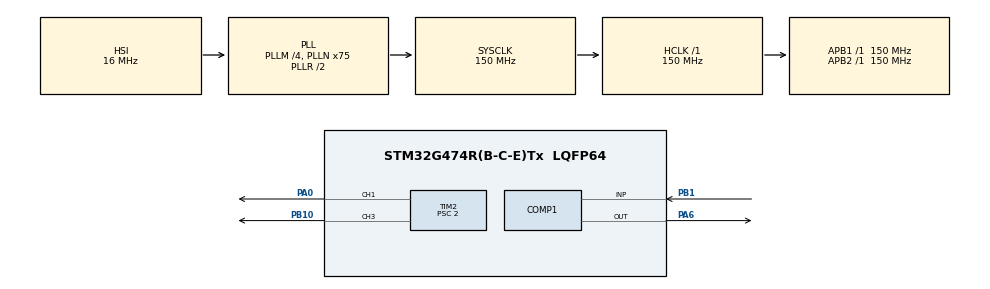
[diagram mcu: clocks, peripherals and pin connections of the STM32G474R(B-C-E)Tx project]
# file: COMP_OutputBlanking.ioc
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COMP1.BlankingSrce=COMP_BLANKINGSRC_TIM2_OC3_COMP1
COMP1.Hysteresis=COMP_HYSTERESIS_NONE
COMP1.OutputPol=COMP_OUTPUTPOL_NONINVERTED
COMP1.TriggerMode=COMP_TRIGGERMODE_NONE
Mcu.Family=STM32G4
Mcu.Name=STM32G474R(B-C-E)Tx
Mcu.Package=LQFP64
NVIC.PriorityGroup=NVIC_PRIORITYGROUP_4
PA0.Signal=S_TIM2_CH1
PA6.Mode=ExternalOutput
PA6.Signal=COMP1_OUT
PB1.Mode=INP
PB1.Signal=COMP1_INP
PB10.Signal=S_TIM2_CH3
ProjectManager.HeapSize=0x200
ProjectManager.StackSize=0x400
ProjectManager.TargetToolchain=EWARM V8.32
RCC.ADC12Freq_Value=150000000
RCC.ADC345Freq_Value=150000000
RCC.AHBFreq_Value=150000000
RCC.APB1Freq_Value=150000000
RCC.APB1TimFreq_Value=150000000
RCC.APB2Freq_Value=150000000
RCC.APB2TimFreq_Value=150000000
RCC.CortexFreq_Value=150000000
RCC.EXTERNAL_CLOCK_VALUE=12288000
RCC.HCLKFreq_Value=150000000
RCC.HSE_VALUE=24000000
RCC.HSI48_VALUE=16000000
RCC.HSI_VALUE=16000000
RCC.LSE_VALUE=32768
RCC.PLLM=RCC_PLLM_DIV4
RCC.PLLN=75
RCC.SYSCLKFreq_VALUE=150000000
RCC.SYSCLKSource=RCC_SYSCLKSOURCE_PLLCLK
RCC.USBFreq_Value=150000000
RCC.VCOOutputFreq_Value=300000000
SH.S_TIM2_CH1.0=TIM2_CH1,PWM Generation1 CH1
SH.S_TIM2_CH3.0=TIM2_CH3,PWM Generation3 CH3
TIM2.Channel-PWM\ Generation1\ CH1=TIM_CHANNEL_1
TIM2.Channel-PWM\ Generation3\ CH3=TIM_CHANNEL_3
TIM2.Period=49999
TIM2.Prescaler=2
TIM2.PulseNoDither_1=20000
TIM2.PulseNoDither_3=1000
VP_COMP1_VS_VREFINT.Mode=VREFINT
VP_SYS_VS_DBSignals.Mode=DisableDeadBatterySignals
VP_TIM2_VS_ClockSourceINT.Mode=Internal
board=custom

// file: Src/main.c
/* USER CODE BEGIN Header */
/**
  ******************************************************************************
  * @file    Examples/COMP/COMP_OutputBlanking/Src/main.c
  * @author  MCD Application Team
  * @brief   This example provides a short description of how to use the COMP
  *          peripheral in mode output blanking feature.
  ******************************************************************************
  * @attention
  *
  * Copyright (c) 2019 STMicroelectronics.
  * All rights reserved.
  *
  * This software is licensed under terms that can be found in the LICENSE file
  * in the root directory of this software component.
  * If no LICENSE file comes with this software, it is provided AS-IS.
  *
  ******************************************************************************
  */
/* USER CODE END Header */
#include "main.h"

/* USER CODE BEGIN Includes */
#include "stm32g4xx_nucleo.h"
/* USER CODE END Includes */

COMP_HandleTypeDef hcomp1;

TIM_HandleTypeDef htim2;

/* USER CODE BEGIN PV */
__IO uint32_t State = 0;
/* USER CODE END PV */

void SystemClock_Config(void);
static void MX_GPIO_Init(void);
static void MX_COMP1_Init(void);
static void MX_TIM2_Init(void);

int main(void)
{

  /* MCU Configuration--------------------------------------------------------*/

  /* Reset of all peripherals, Initializes the Flash interface and the Systick. */
  HAL_Init();

  /* Configure the system clock */
  SystemClock_Config();

  /* USER CODE BEGIN SysInit */
  /******* Initialize LEDs available on NUCLEO-G474RE RevC board ******************/
  BSP_LED_Init(LED2);
  /* USER CODE END SysInit */

  /* Initialize all configured peripherals */
  MX_GPIO_Init();
  MX_COMP1_Init();
  MX_TIM2_Init();
  /* USER CODE BEGIN 2 */

  BSP_LED_Init(LED2);
  BSP_LED_Off(LED2);

 /*##-1- Start the comparator COMP1 #####################################*/
  if (HAL_COMP_Start(&hcomp1) != HAL_OK)
  {
    /* Initialization Error */
    Error_Handler();
  }

 /*##-2- Enable TIM peripheral counter ######################################*/
  /* Start the TIM2 Channel TIM_CHANNEL_1 PWM */
  if(HAL_TIM_PWM_Start(&htim2, TIM_CHANNEL_1) != HAL_OK)
  {
    Error_Handler();
  }

  /* Start the TIM2 Channel TIM_CHANNEL_3 PWM */
  if(HAL_TIM_PWM_Start(&htim2, TIM_CHANNEL_3) != HAL_OK)
  {
    Error_Handler();
  }
  /* USER CODE END 2 */

  /* Infinite loop */
  while (1)
  {

    /* USER CODE BEGIN 3 */
    /* Toggle LED2 as heart beat */
    BSP_LED_Toggle(LED2);
    HAL_Delay(500);
  }
  /* USER CODE END 3 */
}

void SystemClock_Config(void)
{
  RCC_OscInitTypeDef RCC_OscInitStruct = {0};
  RCC_ClkInitTypeDef RCC_ClkInitStruct = {0};

  /** Configure the main internal regulator output voltage
  */
  HAL_PWREx_ControlVoltageScaling(PWR_REGULATOR_VOLTAGE_SCALE1);

  /** Initializes the RCC Oscillators according to the specified parameters
  * in the RCC_OscInitTypeDef structure.
  */
  RCC_OscInitStruct.OscillatorType = RCC_OSCILLATORTYPE_HSI;
  RCC_OscInitStruct.HSIState = RCC_HSI_ON;
  RCC_OscInitStruct.HSICalibrationValue = RCC_HSICALIBRATION_DEFAULT;
  RCC_OscInitStruct.PLL.PLLState = RCC_PLL_ON;
  RCC_OscInitStruct.PLL.PLLSource = RCC_PLLSOURCE_HSI;
  RCC_OscInitStruct.PLL.PLLM = RCC_PLLM_DIV4;
  RCC_OscInitStruct.PLL.PLLN = 75;
  RCC_OscInitStruct.PLL.PLLP = RCC_PLLP_DIV2;
  RCC_OscInitStruct.PLL.PLLQ = RCC_PLLQ_DIV2;
  RCC_OscInitStruct.PLL.PLLR = RCC_PLLR_DIV2;
  if (HAL_RCC_OscConfig(&RCC_OscInitStruct) != HAL_OK)
  {
    Error_Handler();
  }

  /** Initializes the CPU, AHB and APB buses clocks
  */
  RCC_ClkInitStruct.ClockType = RCC_CLOCKTYPE_HCLK|RCC_CLOCKTYPE_SYSCLK
                              |RCC_CLOCKTYPE_PCLK1|RCC_CLOCKTYPE_PCLK2;
  RCC_ClkInitStruct.SYSCLKSource = RCC_SYSCLKSOURCE_PLLCLK;
  RCC_ClkInitStruct.AHBCLKDivider = RCC_SYSCLK_DIV1;
  RCC_ClkInitStruct.APB1CLKDivider = RCC_HCLK_DIV1;
  RCC_ClkInitStruct.APB2CLKDivider = RCC_HCLK_DIV1;

  if (HAL_RCC_ClockConfig(&RCC_ClkInitStruct, FLASH_LATENCY_4) != HAL_OK)
  {
    Error_Handler();
  }
}

static void MX_COMP1_Init(void)
{

  hcomp1.Instance = COMP1;
  hcomp1.Init.InputPlus = COMP_INPUT_PLUS_IO2;
  hcomp1.Init.InputMinus = COMP_INPUT_MINUS_VREFINT;
  hcomp1.Init.OutputPol = COMP_OUTPUTPOL_NONINVERTED;
  hcomp1.Init.Hysteresis = COMP_HYSTERESIS_NONE;
  hcomp1.Init.BlankingSrce = COMP_BLANKINGSRC_TIM2_OC3_COMP1;
  hcomp1.Init.TriggerMode = COMP_TRIGGERMODE_NONE;
  if (HAL_COMP_Init(&hcomp1) != HAL_OK)
  {
    Error_Handler();
  }

}

static void MX_TIM2_Init(void)
{

  TIM_ClockConfigTypeDef sClockSourceConfig = {0};
  TIM_MasterConfigTypeDef sMasterConfig = {0};
  TIM_OC_InitTypeDef sConfigOC = {0};

  htim2.Instance = TIM2;
  htim2.Init.Prescaler = 2;
  htim2.Init.CounterMode = TIM_COUNTERMODE_UP;
  htim2.Init.Period = 49999;
  htim2.Init.ClockDivision = TIM_CLOCKDIVISION_DIV1;
  htim2.Init.AutoReloadPreload = TIM_AUTORELOAD_PRELOAD_DISABLE;
  if (HAL_TIM_Base_Init(&htim2) != HAL_OK)
  {
    Error_Handler();
  }
  sClockSourceConfig.ClockSource = TIM_CLOCKSOURCE_INTERNAL;
  if (HAL_TIM_ConfigClockSource(&htim2, &sClockSourceConfig) != HAL_OK)
  {
    Error_Handler();
  }
  if (HAL_TIM_PWM_Init(&htim2) != HAL_OK)
  {
    Error_Handler();
  }
  sMasterConfig.MasterOutputTrigger = TIM_TRGO_RESET;
  sMasterConfig.MasterSlaveMode = TIM_MASTERSLAVEMODE_DISABLE;
  if (HAL_TIMEx_MasterConfigSynchronization(&htim2, &sMasterConfig) != HAL_OK)
  {
    Error_Handler();
  }
  sConfigOC.OCMode = TIM_OCMODE_PWM1;
  sConfigOC.Pulse = 20000;
  sConfigOC.OCPolarity = TIM_OCPOLARITY_HIGH;
  sConfigOC.OCFastMode = TIM_OCFAST_DISABLE;
  if (HAL_TIM_PWM_ConfigChannel(&htim2, &sConfigOC, TIM_CHANNEL_1) != HAL_OK)
  {
    Error_Handler();
  }
  sConfigOC.Pulse = 1000;
  if (HAL_TIM_PWM_ConfigChannel(&htim2, &sConfigOC, TIM_CHANNEL_3) != HAL_OK)
  {
    Error_Handler();
  }
  HAL_TIM_MspPostInit(&htim2);

}

static void MX_GPIO_Init(void)
{

  /* GPIO Ports Clock Enable */
  __HAL_RCC_GPIOA_CLK_ENABLE();
  __HAL_RCC_GPIOB_CLK_ENABLE();

}

void Error_Handler(void)
{
  /* USER CODE BEGIN Error_Handler_Debug */
  /* User can add his own implementation to report the HAL error return state */

  BSP_LED_On(LED2);
    while(1)
    {
    }

  /* USER CODE END Error_Handler_Debug */
}

#ifdef  USE_FULL_ASSERT
/**
  * @brief  Reports the name of the source file and the source line number
  *         where the assert_param error has occurred.
  * @param  file: pointer to the source file name
  * @param  line: assert_param error line source number
  * @retval None
  */
void assert_failed(uint8_t *file, uint32_t line)
{
  /* USER CODE BEGIN 6 */
  /* User can add his own implementation to report the file name and line number,
    ex: printf("Wrong parameters value: file %s on line %d\r\n", file, line) */
  Error_Handler();
  /* USER CODE END 6 */
}
#endif /* USE_FULL_ASSERT */
